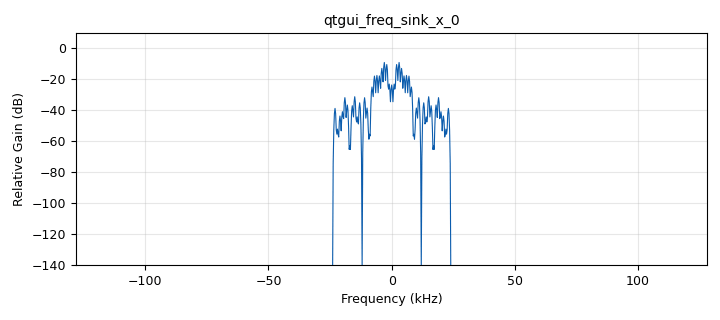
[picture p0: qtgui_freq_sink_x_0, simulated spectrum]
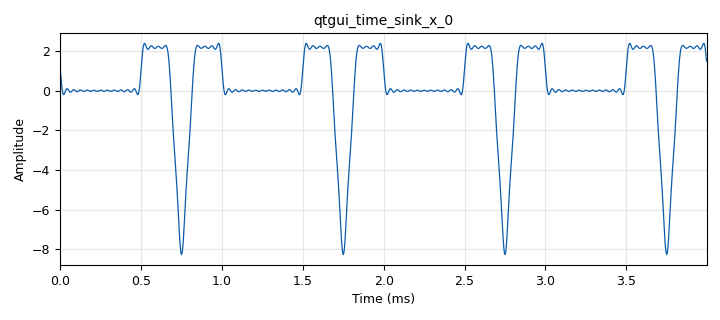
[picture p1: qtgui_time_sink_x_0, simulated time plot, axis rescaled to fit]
options:
  parameters:
    generate_options: qt_gui
    id: Esercizio2
    output_language: python
    title: Not titled yet
  states: {}

blocks:
- name: samp_rate
  id: variable
  parameters:
    value: '256000'
  states: {}
- name: analog_sig_source_x_0
  id: analog_sig_source_x
  parameters:
    amp: '0.183'
    freq: '0'
    offset: '0'
    phase: '0'
    samp_rate: samp_rate
    type: float
    waveform: analog.GR_CONST_WAVE
  states: {}
- name: analog_sig_source_x_0_0
  id: analog_sig_source_x
  parameters:
    amp: 0.196*2
    freq: '1000'
    offset: '0'
    phase: '3.142'
    samp_rate: samp_rate
    type: float
    waveform: analog.GR_COS_WAVE
  states: {}
- name: analog_sig_source_x_0_0_0
  id: analog_sig_source_x
  parameters:
    amp: 0.836*2
    freq: '2000'
    offset: '0'
    phase: '3.142'
    samp_rate: samp_rate
    type: float
    waveform: analog.GR_COS_WAVE
  states: {}
- name: analog_sig_source_x_0_0_0_0
  id: analog_sig_source_x
  parameters:
    amp: 0.976*2
    freq: '3000'
    offset: '0'
    phase: '3.142'
    samp_rate: samp_rate
    type: float
    waveform: analog.GR_COS_WAVE
  states: {}
- name: analog_sig_source_x_0_0_0_0_0
  id: analog_sig_source_x
  parameters:
    amp: 0.627*2
    freq: '4000'
    offset: '0'
    phase: '3.142'
    samp_rate: samp_rate
    type: float
    waveform: analog.GR_COS_WAVE
  states: {}
- name: analog_sig_source_x_0_0_0_0_0_0
  id: analog_sig_source_x
  parameters:
    amp: 0.359*2
    freq: '5000'
    offset: '0'
    phase: '3.142'
    samp_rate: samp_rate
    type: float
    waveform: analog.GR_COS_WAVE
  states: {}
- name: analog_sig_source_x_0_0_0_0_0_0_0
  id: analog_sig_source_x
  parameters:
    amp: 0.372*2
    freq: '6000'
    offset: '0'
    phase: '3.142'
    samp_rate: samp_rate
    type: float
    waveform: analog.GR_COS_WAVE
  states: {}
- name: analog_sig_source_x_0_0_0_0_0_0_0_0
  id: analog_sig_source_x
  parameters:
    amp: 0.355*2
    freq: '7000'
    offset: '0'
    phase: '3.142'
    samp_rate: samp_rate
    type: float
    waveform: analog.GR_COS_WAVE
  states: {}
- name: analog_sig_source_x_0_0_0_0_0_0_0_0_0
  id: analog_sig_source_x
  parameters:
    amp: 0.157*2
    freq: '8000'
    offset: '0'
    phase: '3.142'
    samp_rate: samp_rate
    type: float
    waveform: analog.GR_COS_WAVE
  states: {}
- name: analog_sig_source_x_0_0_0_0_0_0_0_0_0_0
  id: analog_sig_source_x
  parameters:
    amp: 0.0047*2
    freq: '9000'
    offset: '0'
    phase: '3.142'
    samp_rate: samp_rate
    type: float
    waveform: analog.GR_COS_WAVE
  states: {}
- name: analog_sig_source_x_0_0_0_0_0_0_0_0_0_0_0
  id: analog_sig_source_x
  parameters:
    amp: 0.033*2
    freq: '10000'
    offset: '0'
    phase: '3.142'
    samp_rate: samp_rate
    type: float
    waveform: analog.GR_COS_WAVE
  states: {}
- name: analog_sig_source_x_0_0_0_0_0_0_0_0_0_0_0_0
  id: analog_sig_source_x
  parameters:
    amp: 0.071*2
    freq: '11000'
    offset: '0'
    phase: '3.142'
    samp_rate: samp_rate
    type: float
    waveform: analog.GR_COS_WAVE
  states: {}
- name: analog_sig_source_x_0_0_0_0_0_0_0_0_0_0_0_0_0
  id: analog_sig_source_x
  parameters:
    amp: '0'
    freq: '12000'
    offset: '0'
    phase: '0'
    samp_rate: samp_rate
    type: float
    waveform: analog.GR_COS_WAVE
  states: {}
- name: analog_sig_source_x_0_0_0_0_0_0_0_0_0_0_0_0_0_0
  id: analog_sig_source_x
  parameters:
    amp: 0.0486*2
    freq: '13000'
    offset: '0'
    phase: '0'
    samp_rate: samp_rate
    type: float
    waveform: analog.GR_COS_WAVE
  states: {}
- name: analog_sig_source_x_0_0_0_0_0_0_0_0_0_0_0_0_0_0_0
  id: analog_sig_source_x
  parameters:
    amp: 0.0171*2
    freq: '14000'
    offset: '0'
    phase: '3.142'
    samp_rate: samp_rate
    type: float
    waveform: analog.GR_COS_WAVE
  states: {}
- name: analog_sig_source_x_0_0_0_0_0_0_0_0_0_0_0_0_0_0_0_0
  id: analog_sig_source_x
  parameters:
    amp: 0.0764*2
    freq: '15000'
    offset: '0'
    phase: '3.142'
    samp_rate: samp_rate
    type: float
    waveform: analog.GR_COS_WAVE
  states: {}
- name: analog_sig_source_x_0_0_0_0_0_0_0_0_0_0_0_0_0_0_0_0_0
  id: analog_sig_source_x
  parameters:
    amp: 0.0392*2
    freq: '16000'
    offset: '0'
    phase: '3.142'
    samp_rate: samp_rate
    type: float
    waveform: analog.GR_COS_WAVE
  states: {}
- name: analog_sig_source_x_0_0_0_0_0_0_0_0_0_0_0_0_0_0_0_0_0_0
  id: analog_sig_source_x
  parameters:
    amp: 0.0020*2
    freq: '17000'
    offset: '0'
    phase: '3.142'
    samp_rate: samp_rate
    type: float
    waveform: analog.GR_COS_WAVE
  states: {}
- name: analog_sig_source_x_0_0_0_0_0_0_0_0_0_0_0_0_0_0_0_0_0_0_0
  id: analog_sig_source_x
  parameters:
    amp: 0.0413*2
    freq: '18000'
    offset: '0'
    phase: '3.142'
    samp_rate: samp_rate
    type: float
    waveform: analog.GR_COS_WAVE
  states: {}
- name: analog_sig_source_x_0_0_0_0_0_0_0_0_0_0_0_0_0_0_0_0_0_0_0_0
  id: analog_sig_source_x
  parameters:
    amp: 0.0714*2
    freq: '19000'
    offset: '0'
    phase: '3.142'
    samp_rate: samp_rate
    type: float
    waveform: analog.GR_COS_WAVE
  states: {}
- name: analog_sig_source_x_0_0_0_0_0_0_0_0_0_0_0_0_0_0_0_0_0_0_0_0_0
  id: analog_sig_source_x
  parameters:
    amp: 0.0251*2
    freq: '20000'
    offset: '0'
    phase: '3.142'
    samp_rate: samp_rate
    type: float
    waveform: analog.GR_COS_WAVE
  states: {}
- name: analog_sig_source_x_0_0_0_0_0_0_0_0_0_0_0_0_0_0_0_0_0_0_0_0_0_0
  id: analog_sig_source_x
  parameters:
    amp: 0.0182*2
    freq: '21000'
    offset: '0'
    phase: '0'
    samp_rate: samp_rate
    type: float
    waveform: analog.GR_COS_WAVE
  states: {}
- name: analog_sig_source_x_0_0_0_0_0_0_0_0_0_0_0_0_0_0_0_0_0_0_0_0_0_0_0
  id: analog_sig_source_x
  parameters:
    amp: 0.0069*2
    freq: '22000'
    offset: '0'
    phase: '3.142'
    samp_rate: samp_rate
    type: float
    waveform: analog.GR_COS_WAVE
  states: {}
- name: analog_sig_source_x_0_0_0_0_0_0_0_0_0_0_0_0_0_0_0_0_0_0_0_0_0_0_0_0
  id: analog_sig_source_x
  parameters:
    amp: 0.0321*2
    freq: '23000'
    offset: '0'
    phase: '3.142'
    samp_rate: samp_rate
    type: float
    waveform: analog.GR_COS_WAVE
  states: {}
- name: analog_sig_source_x_0_0_0_0_0_0_0_0_0_0_0_0_0_0_0_0_0_0_0_0_0_0_0_0_0
  id: analog_sig_source_x
  parameters:
    amp: 0*2
    freq: '24000'
    offset: '0'
    phase: '0'
    samp_rate: samp_rate
    type: float
    waveform: analog.GR_COS_WAVE
  states: {}
- name: blocks_add_xx_0
  id: blocks_add_xx
  parameters:
    num_inputs: '25'
    type: float
  states: {}
- name: blocks_throttle_0
  id: blocks_throttle
  parameters:
    samples_per_second: samp_rate
    type: float
  states: {}
- name: qtgui_freq_sink_x_0
  id: qtgui_freq_sink_x
  parameters:
    bw: samp_rate
    fc: '0'
    fftsize: '1024'
    type: float
  states: {}
- name: qtgui_time_sink_x_0
  id: qtgui_time_sink_x
  parameters:
    size: '1024'
    srate: samp_rate
    type: float
  states: {}

connections:
- [analog_sig_source_x_0, '0', blocks_add_xx_0, '0']
- [analog_sig_source_x_0_0, '0', blocks_add_xx_0, '1']
- [analog_sig_source_x_0_0_0, '0', blocks_add_xx_0, '2']
- [analog_sig_source_x_0_0_0_0, '0', blocks_add_xx_0, '3']
- [analog_sig_source_x_0_0_0_0_0, '0', blocks_add_xx_0, '4']
- [analog_sig_source_x_0_0_0_0_0_0, '0', blocks_add_xx_0, '5']
- [analog_sig_source_x_0_0_0_0_0_0_0, '0', blocks_add_xx_0, '6']
- [analog_sig_source_x_0_0_0_0_0_0_0_0, '0', blocks_add_xx_0, '7']
- [analog_sig_source_x_0_0_0_0_0_0_0_0_0, '0', blocks_add_xx_0, '8']
- [analog_sig_source_x_0_0_0_0_0_0_0_0_0_0, '0', blocks_add_xx_0, '9']
- [analog_sig_source_x_0_0_0_0_0_0_0_0_0_0_0, '0', blocks_add_xx_0, '10']
- [analog_sig_source_x_0_0_0_0_0_0_0_0_0_0_0_0, '0', blocks_add_xx_0, '11']
- [analog_sig_source_x_0_0_0_0_0_0_0_0_0_0_0_0_0, '0', blocks_add_xx_0, '12']
- [analog_sig_source_x_0_0_0_0_0_0_0_0_0_0_0_0_0_0, '0', blocks_add_xx_0, '13']
- [analog_sig_source_x_0_0_0_0_0_0_0_0_0_0_0_0_0_0_0, '0', blocks_add_xx_0, '14']
- [analog_sig_source_x_0_0_0_0_0_0_0_0_0_0_0_0_0_0_0_0, '0', blocks_add_xx_0, '15']
- [analog_sig_source_x_0_0_0_0_0_0_0_0_0_0_0_0_0_0_0_0_0, '0', blocks_add_xx_0, '16']
- [analog_sig_source_x_0_0_0_0_0_0_0_0_0_0_0_0_0_0_0_0_0_0, '0', blocks_add_xx_0, '17']
- [analog_sig_source_x_0_0_0_0_0_0_0_0_0_0_0_0_0_0_0_0_0_0_0, '0', blocks_add_xx_0, '18']
- [analog_sig_source_x_0_0_0_0_0_0_0_0_0_0_0_0_0_0_0_0_0_0_0_0, '0', blocks_add_xx_0, '19']
- [analog_sig_source_x_0_0_0_0_0_0_0_0_0_0_0_0_0_0_0_0_0_0_0_0_0, '0', blocks_add_xx_0, '20']
- [analog_sig_source_x_0_0_0_0_0_0_0_0_0_0_0_0_0_0_0_0_0_0_0_0_0_0, '0', blocks_add_xx_0, '21']
- [analog_sig_source_x_0_0_0_0_0_0_0_0_0_0_0_0_0_0_0_0_0_0_0_0_0_0_0, '0', blocks_add_xx_0, '22']
- [analog_sig_source_x_0_0_0_0_0_0_0_0_0_0_0_0_0_0_0_0_0_0_0_0_0_0_0_0, '0', blocks_add_xx_0, '23']
- [analog_sig_source_x_0_0_0_0_0_0_0_0_0_0_0_0_0_0_0_0_0_0_0_0_0_0_0_0_0, '0', blocks_add_xx_0, '24']
- [blocks_add_xx_0, '0', blocks_throttle_0, '0']
- [blocks_throttle_0, '0', qtgui_freq_sink_x_0, '0']
- [blocks_throttle_0, '0', qtgui_time_sink_x_0, '0']

metadata:
  file_format: 1
  grc_version: 3.10.5.1
